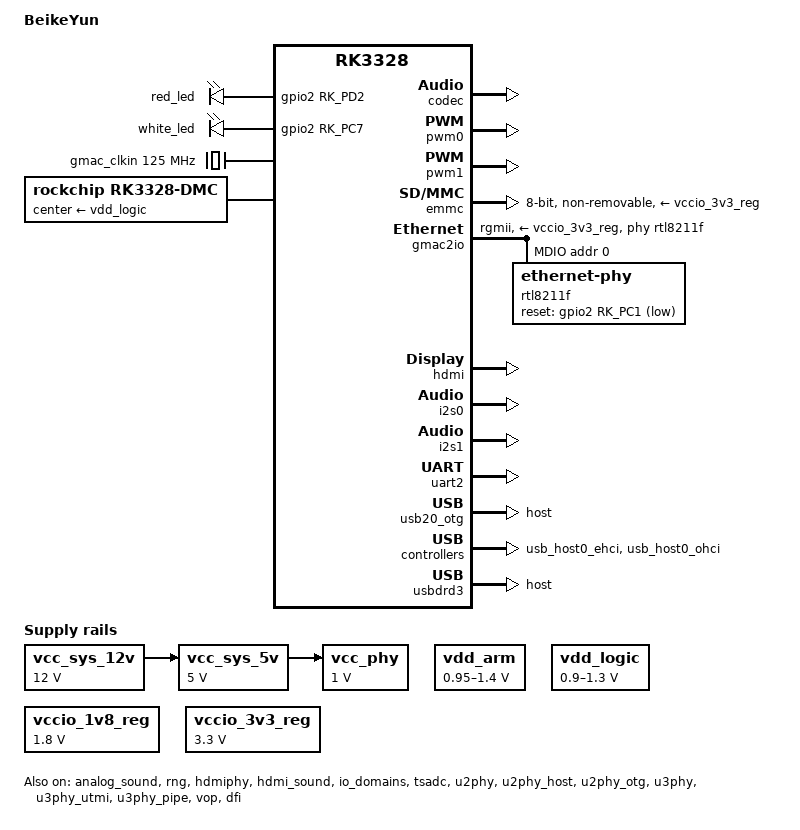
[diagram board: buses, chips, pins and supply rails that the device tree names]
// SPDX-License-Identifier: (GPL-2.0+ OR MIT)
/*
 * Copyright (c) 2017 PINE64
 */

/dts-v1/;
#include "rk3328-dram-default-timing.dtsi"
#include "rk3328.dtsi"

/ {
	model = "BeikeYun";
	compatible = "pine64,rock64", "rockchip,rk3328";

 	aliases {
		mmc0 = &emmc;
		mmc1 = &sdmmc;
		mmc2 = &sdio;
	};

	chosen {
		bootargs = "earlycon=uart8250,mmio32,0xff130000";
		stdout-path = "serial2:1500000n8";
	};

	leds {
		status = "okay";
		compatible = "gpio-leds";
		red-led {
			label = "red_led";
			gpios = <&gpio2 RK_PD2 GPIO_ACTIVE_HIGH>;
			linux,default-trigger = "mmc0";
			default-state = "on";
		};
		white-led {
			label = "white_led";
			gpios = <&gpio2 RK_PC7 GPIO_ACTIVE_HIGH>;
			linux,default-trigger = "none";
			default-state = "on";
		};
	};

	gmac_clkin: external-gmac-clock {
		compatible = "fixed-clock";
		clock-frequency = <125000000>;
		clock-output-names = "gmac_clkin";
		#clock-cells = <0>;
	};

	vcc_sys_12v: vcc-sys-12v-regulator {
		compatible = "regulator-fixed";
		regulator-name = "vcc_sys_12v";
		regulator-min-microvolt = <12000000>;
		regulator-max-microvolt = <12000000>;
		regulator-always-on;
		regulator-boot-on;
	};

	vcc_sys_5v: vcc-sys-5v-regulator {
		compatible = "regulator-fixed";
		regulator-name = "vcc_sys_5v";
		regulator-min-microvolt = <5000000>;
		regulator-max-microvolt = <5000000>;
		regulator-always-on;
		regulator-boot-on;
		vin-supply = <&vcc_sys_12v>;
	};

	vcc_phy: vcc-phy-regulator {
		compatible = "regulator-fixed";
		regulator-name = "vcc_phy";
		regulator-min-microvolt = <1000000>;
		regulator-max-microvolt = <1000000>;
		regulator-always-on;
		regulator-boot-on;
		vin-supply = <&vcc_sys_5v>;
	};

	vdd_arm: vdd-center {
		compatible = "pwm-regulator";
		rockchip,pwm_id = <0>;
		rockchip,pwm_voltage = <1250000>;
		pwms = <&pwm0 0 5000 1>;
		regulator-name = "vcc_arm";
		regulator-min-microvolt = <950000>;
		regulator-max-microvolt = <1400000>;
		regulator-settling-time-up-us = <250>;
		regulator-ramp-delay = <12500>;
		regulator-always-on;
		regulator-boot-on;
	};

	vdd_logic: vdd-log {
		compatible = "pwm-regulator";
		rockchip,pwm_id = <1>;
		rockchip,pwm_voltage = <1100000>;
		pwms = <&pwm1 0 5000 1>;
		regulator-name = "vcc_log";
		regulator-min-microvolt = <900000>;
		regulator-max-microvolt = <1300000>;
		regulator-settling-time-up-us = <250>;
		regulator-ramp-delay = <12500>;
		regulator-always-on;
		regulator-boot-on;
	};

	regulators {
		compatible = "simple-bus";
		#address-cells = <1>;
		#size-cells = <0>;

		vccio_1v8_reg: regulator@0 {
			compatible = "regulator-fixed";
			regulator-name = "vccio_1v8";
			regulator-min-microvolt = <1800000>;
			regulator-max-microvolt = <1800000>;
			regulator-always-on;
		};

		vccio_3v3_reg: regulator@1 {
			compatible = "regulator-fixed";
			regulator-name = "vccio_3v3";
			regulator-min-microvolt = <3300000>;
			regulator-max-microvolt = <3300000>;
			regulator-always-on;
		};
	};

	dfi: dfi@ff790000 {
		reg = <0x00 0xff790000 0x00 0x400>;
		compatible = "rockchip,rk3328-dfi";
		rockchip,grf = <&grf>;
		status = "disabled";
	};

	dmc: dmc {
		compatible = "rockchip,rk3328-dmc";
		devfreq-events = <&dfi>;
		clocks = <&cru SCLK_DDRCLK>;
		clock-names = "dmc_clk";
		operating-points-v2 = <&dmc_opp_table>;
		ddr_timing = <&ddr_timing>;
		upthreshold = <40>;
		downdifferential = <20>;
		auto-min-freq = <786000>;
		auto-freq-en = <0>;
		#cooling-cells = <2>;
		status = "disabled";

		ddr_power_model: ddr_power_model {
			compatible = "ddr_power_model";
			dynamic-power-coefficient = <120>;
			static-power-coefficient = <200>;
			ts = <32000 4700 (-80) 2>;
			thermal-zone = "soc-thermal";
		};
	};

	dmc_opp_table: dmc-opp-table {
		compatible = "operating-points-v2";

		rockchip,leakage-voltage-sel = <
			1   10    0
			11  254   1
		>;
		nvmem-cells = <&logic_leakage>;
		nvmem-cell-names = "ddr_leakage";

		opp-786000000 {
			opp-hz = /bits/ 64 <786000000>;
			opp-microvolt = <1150000>;
			opp-microvolt-L0 = <1150000>;
			opp-microvolt-L1 = <1075000>;
		};
		opp-798000000 {
			opp-hz = /bits/ 64 <798000000>;
			opp-microvolt = <1150000>;
			opp-microvolt-L0 = <1150000>;
			opp-microvolt-L1 = <1075000>;
		};
		opp-840000000 {
			opp-hz = /bits/ 64 <840000000>;
			opp-microvolt = <1150000>;
			opp-microvolt-L0 = <1150000>;
			opp-microvolt-L1 = <1075000>;
		};
		opp-924000000 {
			opp-hz = /bits/ 64 <924000000>;
			opp-microvolt = <1150000>;
			opp-microvolt-L0 = <1150000>;
			opp-microvolt-L1 = <1075000>;
		};
	};
};

&analog_sound {
	status = "okay";
};

&codec {
	status = "okay";
};

&cpu0 {
	cpu-supply = <&vdd_arm>;
};

&cpu1 {
	cpu-supply = <&vdd_arm>;
};

&cpu2 {
	cpu-supply = <&vdd_arm>;
};

&cpu3 {
	cpu-supply = <&vdd_arm>;
};

&pwm0 {
	status = "okay";
};

&pwm1 {
	status = "okay";
};

&emmc {
	max-frequency = <150000000>;
	bus-width = <8>;
	cap-mmc-highspeed;
	mmc-hs200-1_8v;
	non-removable;
	num-slots = <1>;
	pinctrl-names = "default";
	pinctrl-0 = <&emmc_clk &emmc_cmd &emmc_bus8>;
	vmmc-supply = <&vccio_3v3_reg>;
	vqmmc-supply = <&vccio_1v8_reg>;
	status = "okay";
};

&gmac2phy {
	status = "disabled";
};

&gmac2io {
	assigned-clocks = <&cru SCLK_MAC2IO>, <&cru SCLK_MAC2IO_EXT>;
	assigned-clock-parents = <&gmac_clkin>, <&gmac_clkin>;
	clock_in_out = "input";
	phy-handle = <&rtl8211f>;
	phy-supply = <&vccio_3v3_reg>;
	phy-mode = "rgmii";
	pinctrl-names = "default";
	pinctrl-0 = <&rgmiim1_pins>;
	snps,aal;
	snps,pbl = <0x4>;
	tx_delay = <0x26>;
	rx_delay = <0x11>;
	status = "okay";
	
	mdio {
		compatible = "snps,dwmac-mdio";
		#address-cells = <1>;
		#size-cells = <0>;

		rtl8211f: ethernet-phy@0 {
			reg = <0>;
			reset-delay-us = <30000>;
			reset-assert-us = <30000>;
			reset-deassert-us = <50000>;
			reset-gpios = <&gpio2 RK_PC1 GPIO_ACTIVE_LOW>;
		};
	};
};

&gpu {
	mali-supply = <&vdd_logic>;
};

&dfi {
	status = "okay";
};

&dmc {
	center-supply = <&vdd_logic>;
	status = "okay";
};

&rng {
	status = "okay";
};

&hdmi {
	status = "okay";
	#sound-dai-cells = <0>;
	ddc-i2c-scl-high-time-ns = <9625>;
	ddc-i2c-scl-low-time-ns = <10000>;
};

&hdmiphy {
	status = "okay";
};

&hdmi_sound {
	status = "okay";
};

&i2s0 {
        status = "okay";
};

&i2s1 {
        status = "okay";
};

&codec {
        status = "okay";
};

&io_domains {
	status = "okay";

	vccio1-supply = <&vccio_3v3_reg>;
	vccio2-supply = <&vccio_1v8_reg>;
	vccio3-supply = <&vccio_3v3_reg>;
	vccio4-supply = <&vccio_1v8_reg>;
	vccio5-supply = <&vccio_3v3_reg>;
	vccio6-supply = <&vccio_3v3_reg>;
	pmuio-supply = <&vccio_3v3_reg>;
};

&pinctrl {

	usb2 {
		usb20_host_drv: usb20-host-drv {
			rockchip,pins = <0 RK_PA2 RK_FUNC_GPIO &pcfg_pull_none>;
		};
	};

	usb3 {
		usb30_host_drv: usb30-host-drv {
			rockchip,pins = <0 RK_PA0 RK_FUNC_GPIO &pcfg_pull_none>;
		};
	};

};

&tsadc {
	rockchip,hw-tshut-mode = <0>;
	rockchip,hw-tshut-polarity = <0>;
	status = "okay";
};

&uart2 {
	status = "okay";
};

&u2phy {
	status = "okay";
};

&u2phy_host {
	status = "okay";
};

&u2phy_otg {
	status = "okay";
};

&usb20_otg {
	dr_mode = "host";
	status = "okay";
};

&usb_host0_ehci {
	status = "okay";
};

&usb_host0_ohci {
	status = "okay";
};

&u3phy {
       status = "okay";
};

&u3phy_utmi {
       status = "okay";
};

&u3phy_pipe {
       status = "okay";
};

&usbdrd3 {
	dr_mode = "host";
	status = "okay";
};

&vop {
	status = "okay";
};

&vop_mmu {
	status = "okay";
};

&grf_gpio {
	status = "okay";
};

&cpu0_opp_table {

	rockchip,leakage-voltage-sel = <
		1   10    0
		11  254   1
	>;
	nvmem-cells = <&cpu_leakage>;
	nvmem-cell-names = "cpu_leakage";

	opp-408000000 {
		opp-hz = /bits/ 64 <408000000>;
		opp-microvolt = <985000>;
		clock-latency-ns = <40000>;
		opp-suspend;
		status = "disabled";
	};
	opp-600000000 {
		opp-hz = /bits/ 64 <600000000>;
		opp-microvolt = <1025000>;
		clock-latency-ns = <40000>;
	};
	opp-816000000 {
		opp-hz = /bits/ 64 <816000000>;
		opp-microvolt = <1075000>;
		clock-latency-ns = <40000>;
	};
	opp-1008000000 {
		opp-hz = /bits/ 64 <1008000000>;
		opp-microvolt = <1175000>;
		clock-latency-ns = <40000>;
	};
	opp-1200000000 {
		opp-hz = /bits/ 64 <1200000000>;
		opp-microvolt = <1300000>;
		clock-latency-ns = <40000>;
	};
	opp-1296000000 {
		opp-hz = /bits/ 64 <1296000000>;
		opp-microvolt = <1350000>;
		clock-latency-ns = <40000>;
	};
	opp-1392000000 {
		opp-hz = /bits/ 64 <1392000000>;
		opp-microvolt = <1400000>;
		clock-latency-ns = <40000>;
		status = "disabled";
	};
	opp-1512000000 {
		opp-hz = /bits/ 64 <1512000000>;
		opp-microvolt = <1400000>;
		clock-latency-ns = <40000>;
		status = "disabled";
	};
};
